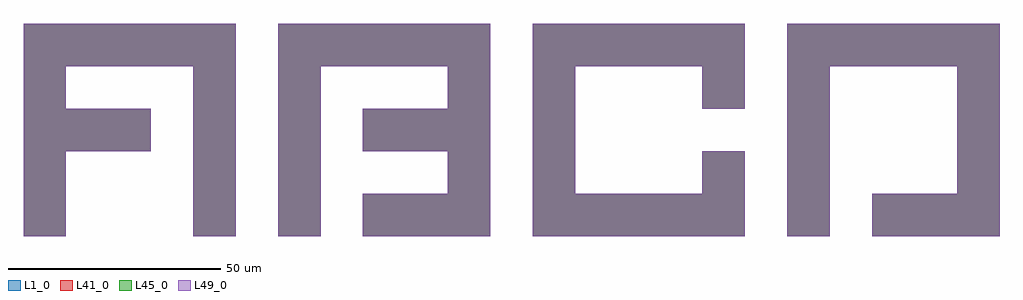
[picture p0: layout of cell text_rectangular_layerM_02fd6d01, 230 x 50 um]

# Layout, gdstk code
import gdstk
lib = gdstk.Library(unit=1e-6, precision=1e-09)
def R(c, l, rs):  # rectangles x0, y0, x1, y1
    for r in rs: c.add(gdstk.rectangle(r[:2], r[2:], *l))
def A(c, l, x, y, w, h, nx, ny, dx, dy):  # array of equal rectangles
    R(c, l, [(x+i*dx, y+j*dy, x+i*dx+w, y+j*dy+h) for i in range(nx) for j in range(ny)])
L1_0 = (1, 0)
L41_0 = (41, 0)
L45_0 = (45, 0)
L49_0 = (49, 0)

text_rectangular = lib.new_cell('text_rectangular')
A(text_rectangular, L1_0, 40, 0, 10, 10, 3, 2, 20, 20)
A(text_rectangular, L1_0, 100, 0, 10, 10, 1, 4, 0, 10)
A(text_rectangular, L1_0, 120, 0, 10, 10, 5, 2, 10, 40)
A(text_rectangular, L1_0, 180, 0, 10, 10, 1, 4, 0, 10)
A(text_rectangular, L1_0, 200, 0, 10, 10, 3, 1, 10, 0)
A(text_rectangular, L1_0, 120, 10, 10, 10, 1, 3, 0, 10)
A(text_rectangular, L1_0, 220, 10, 10, 10, 1, 3, 0, 10)
A(text_rectangular, L1_0, 0, 20, 10, 10, 3, 1, 10, 0)
A(text_rectangular, L1_0, 0, 40, 10, 10, 5, 1, 10, 0)
A(text_rectangular, L1_0, 60, 40, 10, 10, 5, 1, 10, 0)
A(text_rectangular, L1_0, 180, 40, 10, 10, 5, 1, 10, 0)
R(text_rectangular, L1_0, [(0,0,10,10), (90,0,100,10), (0,10,10,20), (40,10,50,20), (60,10,70,20), (160,10,170,20), (90,20,100,30), (0,30,10,40), (40,30,50,40), (60,30,70,40), (160,30,170,40)])

text_rectangular_layerm1 = lib.new_cell('text_rectangular_layerM1')
A(text_rectangular_layerm1, L41_0, 40, 0, 10, 10, 3, 2, 20, 20)
A(text_rectangular_layerm1, L41_0, 100, 0, 10, 10, 1, 4, 0, 10)
A(text_rectangular_layerm1, L41_0, 120, 0, 10, 10, 5, 2, 10, 40)
A(text_rectangular_layerm1, L41_0, 180, 0, 10, 10, 1, 4, 0, 10)
A(text_rectangular_layerm1, L41_0, 200, 0, 10, 10, 3, 1, 10, 0)
A(text_rectangular_layerm1, L41_0, 120, 10, 10, 10, 1, 3, 0, 10)
A(text_rectangular_layerm1, L41_0, 220, 10, 10, 10, 1, 3, 0, 10)
A(text_rectangular_layerm1, L41_0, 0, 20, 10, 10, 3, 1, 10, 0)
A(text_rectangular_layerm1, L41_0, 0, 40, 10, 10, 5, 1, 10, 0)
A(text_rectangular_layerm1, L41_0, 60, 40, 10, 10, 5, 1, 10, 0)
A(text_rectangular_layerm1, L41_0, 180, 40, 10, 10, 5, 1, 10, 0)
R(text_rectangular_layerm1, L41_0, [(0,0,10,10), (90,0,100,10), (0,10,10,20), (40,10,50,20), (60,10,70,20), (160,10,170,20), (90,20,100,30), (0,30,10,40), (40,30,50,40), (60,30,70,40), (160,30,170,40)])

text_rectangular_layerm2 = lib.new_cell('text_rectangular_layerM2')
A(text_rectangular_layerm2, L45_0, 40, 0, 10, 10, 3, 2, 20, 20)
A(text_rectangular_layerm2, L45_0, 100, 0, 10, 10, 1, 4, 0, 10)
A(text_rectangular_layerm2, L45_0, 120, 0, 10, 10, 5, 2, 10, 40)
A(text_rectangular_layerm2, L45_0, 180, 0, 10, 10, 1, 4, 0, 10)
A(text_rectangular_layerm2, L45_0, 200, 0, 10, 10, 3, 1, 10, 0)
A(text_rectangular_layerm2, L45_0, 120, 10, 10, 10, 1, 3, 0, 10)
A(text_rectangular_layerm2, L45_0, 220, 10, 10, 10, 1, 3, 0, 10)
A(text_rectangular_layerm2, L45_0, 0, 20, 10, 10, 3, 1, 10, 0)
A(text_rectangular_layerm2, L45_0, 0, 40, 10, 10, 5, 1, 10, 0)
A(text_rectangular_layerm2, L45_0, 60, 40, 10, 10, 5, 1, 10, 0)
A(text_rectangular_layerm2, L45_0, 180, 40, 10, 10, 5, 1, 10, 0)
R(text_rectangular_layerm2, L45_0, [(0,0,10,10), (90,0,100,10), (0,10,10,20), (40,10,50,20), (60,10,70,20), (160,10,170,20), (90,20,100,30), (0,30,10,40), (40,30,50,40), (60,30,70,40), (160,30,170,40)])

text_rectangular_layerm3 = lib.new_cell('text_rectangular_layerM3')
A(text_rectangular_layerm3, L49_0, 40, 0, 10, 10, 3, 2, 20, 20)
A(text_rectangular_layerm3, L49_0, 100, 0, 10, 10, 1, 4, 0, 10)
A(text_rectangular_layerm3, L49_0, 120, 0, 10, 10, 5, 2, 10, 40)
A(text_rectangular_layerm3, L49_0, 180, 0, 10, 10, 1, 4, 0, 10)
A(text_rectangular_layerm3, L49_0, 200, 0, 10, 10, 3, 1, 10, 0)
A(text_rectangular_layerm3, L49_0, 120, 10, 10, 10, 1, 3, 0, 10)
A(text_rectangular_layerm3, L49_0, 220, 10, 10, 10, 1, 3, 0, 10)
A(text_rectangular_layerm3, L49_0, 0, 20, 10, 10, 3, 1, 10, 0)
A(text_rectangular_layerm3, L49_0, 0, 40, 10, 10, 5, 1, 10, 0)
A(text_rectangular_layerm3, L49_0, 60, 40, 10, 10, 5, 1, 10, 0)
A(text_rectangular_layerm3, L49_0, 180, 40, 10, 10, 5, 1, 10, 0)
R(text_rectangular_layerm3, L49_0, [(0,0,10,10), (90,0,100,10), (0,10,10,20), (40,10,50,20), (60,10,70,20), (160,10,170,20), (90,20,100,30), (0,30,10,40), (40,30,50,40), (60,30,70,40), (160,30,170,40)])

text_rectangular_layerm_ = lib.new_cell('text_rectangular_layerM_02fd6d01')
text_rectangular_layerm_.add(gdstk.Reference(text_rectangular, (0,0)))
text_rectangular_layerm_.add(gdstk.Reference(text_rectangular_layerm1, (0,0)))
text_rectangular_layerm_.add(gdstk.Reference(text_rectangular_layerm2, (0,0)))
text_rectangular_layerm_.add(gdstk.Reference(text_rectangular_layerm3, (0,0)))

lib.write_gds('text_rectangular_layerM_02fd6d01.gds')
